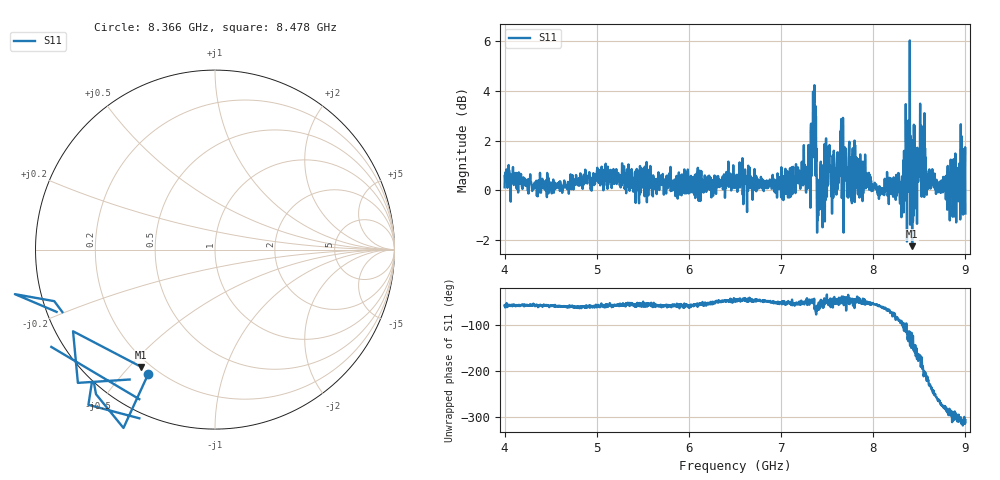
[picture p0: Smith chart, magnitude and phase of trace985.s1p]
! Created with skrf 1.8.0 (http://scikit-rf.org).
# Hz S RI R 50.0
!freq ReS11 ImS11
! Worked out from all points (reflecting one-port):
!   1601 points, 4 GHz to 9 GHz, reference 50 ohm
!   lowest |S11| = -2.2 dB at 8.422 GHz (marker M1), VSWR 7.78, Z = 8.35 - j27 ohm
!   phase of S11 starts at -58 deg and turns -248 deg over the sweep
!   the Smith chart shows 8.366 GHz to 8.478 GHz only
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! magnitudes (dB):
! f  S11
! 4 GHz  0.1
! 4.625 GHz  -0.1
! 5.25 GHz  0.2
! 5.875 GHz  0.4
! 6.5 GHz  0.1
! 7.125 GHz  0.8
! 7.294 GHz  1.0
! 7.347 GHz  4.0
! 7.369 GHz  2.7
! 7.4 GHz  -0.8
! 7.412 GHz  -0.5
! 7.509 GHz  0.5
! 7.609 GHz  1.5
! 7.65 GHz  2.3
! 7.703 GHz  1.7
! 7.75 GHz  0.3
! 8.306 GHz  -1.1
! 8.338 GHz  -0.4
! 8.375 GHz  0.0
! 8.412 GHz  0.5
! 8.422 GHz  -2.2
! 8.447 GHz  2.6
! 8.522 GHz  2.6
! 8.597 GHz  0.1
! 8.722 GHz  0.1
! 8.919 GHz  0.0
! 8.972 GHz  0.1
! 9 GHz  -0.9
